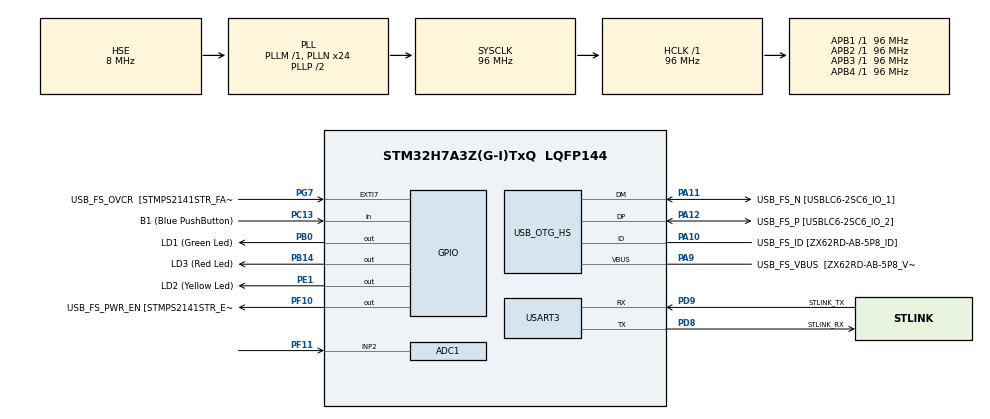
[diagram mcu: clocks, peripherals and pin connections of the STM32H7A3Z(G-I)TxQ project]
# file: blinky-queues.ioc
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ADC1.Channel-0\#ChannelRegularConversion=ADC_CHANNEL_2
ADC1.ContinuousConvMode=ENABLE
ADC1.NbrOfConversionFlag=1
ADC1.OffsetNumber-0\#ChannelRegularConversion=ADC_OFFSET_NONE
ADC1.OffsetSignedSaturation-0\#ChannelRegularConversion=DISABLE
ADC1.Rank-0\#ChannelRegularConversion=1
ADC1.SamplingTime-0\#ChannelRegularConversion=ADC_SAMPLETIME_1CYCLE_5
ADC1.master=1
ADC2.Channel-0\#ChannelRegularConversion=ADC_CHANNEL_TEMPSENSOR
ADC2.NbrOfConversionFlag=1
ADC2.OffsetNumber-0\#ChannelRegularConversion=ADC_OFFSET_NONE
ADC2.OffsetSignedSaturation-0\#ChannelRegularConversion=DISABLE
ADC2.Rank-0\#ChannelRegularConversion=1
ADC2.SamplingTime-0\#ChannelRegularConversion=ADC_SAMPLETIME_1CYCLE_5
FREERTOS.Queues01=CommandsToBlink,16,uint16_t,0,Dynamic,NULL,NULL;times_blinked,16,uint16_t,0,Dynamic,NULL,NULL;rawCommands,16,char,0,Dynamic,NULL,NULL
FREERTOS.Tasks01=CommandLine,24,128,StartCommandLine,Default,NULL,Dynamic,NULL,NULL;Blinker1,8,128,StartBlinker1,Default,NULL,Dynamic,NULL,NULL;Blinker2,8,128,StartBlinker2,Default,NULL,Dynamic,NULL,NULL;Blinker3,8,128,StartBlinker3,Default,NULL,Dynamic,NULL,NULL
FREERTOS.configUSE_NEWLIB_REENTRANT=1
Mcu.Family=STM32H7
Mcu.Name=STM32H7A3Z(G-I)TxQ
Mcu.Package=LQFP144
NVIC.ADC_IRQn=true\:5\:0\:false\:false\:true\:true\:true\:true
NVIC.PriorityGroup=NVIC_PRIORITYGROUP_4
NVIC.TIM7_IRQn=true\:15\:0\:false\:false\:true\:false\:false\:true
NVIC.TimeBase=TIM7_IRQn
NVIC.TimeBaseIP=TIM7
NVIC.USART3_IRQn=true\:5\:0\:false\:false\:true\:true\:true\:true
PA10.GPIO_Label=USB_FS_ID [ZX62RD-AB-5P8_ID]
PA10.Mode=OTG/Dual-Role-Device-FS
PA10.Signal=USB_OTG_HS_ID
PA11.GPIO_Label=USB_FS_N [USBLC6-2SC6_IO_1]
PA11.Mode=OTG/Dual-Role-Device-FS
PA11.Signal=USB_OTG_HS_DM
PA12.GPIO_Label=USB_FS_P [USBLC6-2SC6_IO_2]
PA12.Mode=OTG/Dual-Role-Device-FS
PA12.Signal=USB_OTG_HS_DP
PA9.GPIO_Label=USB_FS_VBUS  [ZX62RD-AB-5P8_VBUS]
PA9.Mode=Activate_VBUS_FS
PA9.Signal=USB_OTG_HS_VBUS
PB0.GPIO_Label=LD1 (Green Led)
PB0.Signal=GPIO_Output
PB14.GPIO_Label=LD3 (Red Led)
PB14.Signal=GPIO_Output
PC13.GPIO_Label=B1 (Blue PushButton)
PC13.Signal=GPIO_Input
PC14-OSC32_IN.GPIO_Label=OSC32_IN
PC14-OSC32_IN.Mode=LSE-External-Oscillator
PC14-OSC32_IN.Signal=RCC_OSC32_IN
PC15-OSC32_OUT.GPIO_Label=OSC32_OUT
PC15-OSC32_OUT.Mode=LSE-External-Oscillator
PC15-OSC32_OUT.Signal=RCC_OSC32_OUT
PD8.GPIO_Label=STLINK_RX
PD8.Mode=Asynchronous
PD8.Signal=USART3_TX
PD9.GPIO_Label=STLINK_TX
PD9.Mode=Asynchronous
PD9.Signal=USART3_RX
PE1.GPIO_Label=LD2 (Yellow Led)
PE1.Signal=GPIO_Output
PF10.GPIO_Label=USB_FS_PWR_EN [STMPS2141STR_EN]
PF10.Signal=GPIO_Output
PF11.Mode=IN2-Single-Ended
PF11.Signal=ADC1_INP2
PG7.GPIO_Label=USB_FS_OVCR  [STMPS2141STR_FAULT]
PG7.Signal=GPXTI7
PH0-OSC_IN.GPIO_Label=PH0-MCU
PH0-OSC_IN.Mode=HSE-External-Clock-Source
PH0-OSC_IN.Signal=RCC_OSC_IN
PH1-OSC_OUT.GPIO_Label=PH1-MCU
PH1-OSC_OUT.Signal=RCC_OSC_OUT
ProjectManager.HeapSize=0x200
ProjectManager.StackSize=0x400
ProjectManager.TargetToolchain=STM32CubeIDE
RCC.ADCFreq_Value=32000000
RCC.APB1Freq_Value=96000000
RCC.APB2Freq_Value=96000000
RCC.APB3Freq_Value=96000000
RCC.APB4Freq_Value=96000000
RCC.CortexFreq_Value=96000000
RCC.DIVM1=1
RCC.DIVM2=1
RCC.DIVM3=1
RCC.DIVN1=24
RCC.DIVN2=16
RCC.DIVN3=24
RCC.DIVP2=4
RCC.DIVQ1=4
RCC.HCLKFreq_Value=96000000
RCC.HSE_VALUE=8000000
RCC.PLLFRACN=0
RCC.PLLSourceVirtual=RCC_PLLSOURCE_HSE
RCC.PWR_Regulator_Voltage_Scale=PWR_REGULATOR_VOLTAGE_SCALE0
RCC.SYSCLKFreq_VALUE=96000000
RCC.SYSCLKSource=RCC_SYSCLKSOURCE_PLLCLK
RCC.SupplySource=PWR_DIRECT_SMPS_SUPPLY
RCC.USBCLockSelection=RCC_USBCLKSOURCE_HSI48
RCC.USBFreq_Value=48000000
USART3.VirtualMode-Asynchronous=VM_ASYNC
VP_ADC2_TempSens_Input.Mode=IN-TempSens
VP_FREERTOS_VS_CMSIS_V2.Mode=CMSIS_V2
VP_SYS_VS_tim7.Mode=TIM7
board=NUCLEO-H7A3ZI-Q

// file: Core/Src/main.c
/* USER CODE BEGIN Header */
/**
  ******************************************************************************
  * @file           : main.c
  * @brief          : Main program body
  ******************************************************************************
  * @attention
  *
  * <h2><center>&copy; Copyright (c) 2022 STMicroelectronics.
  * All rights reserved.</center></h2>
  *
  * This software component is licensed by ST under BSD 3-Clause license,
  * the "License"; You may not use this file except in compliance with the
  * License. You may obtain a copy of the License at:
  *                        opensource.org/licenses/BSD-3-Clause
  *
  ******************************************************************************
  */
/* USER CODE END Header */
#include "main.h"
#include "cmsis_os.h"
#include "adc.h"
#include "usart.h"
#include "usb_otg.h"
#include "gpio.h"

/* USER CODE BEGIN PV */
uint8_t UART3_rxBuffer[12] = {0};
extern osMessageQueueId_t rawCommandsHandle;

/* USER CODE END PV */

void SystemClock_Config(void);
void PeriphCommonClock_Config(void);
void MX_FREERTOS_Init(void);

int main(void)
{

  /* MCU Configuration--------------------------------------------------------*/

  /* Reset of all peripherals, Initializes the Flash interface and the Systick. */
  HAL_Init();

  /* Configure the system clock */
  SystemClock_Config();

/* Configure the peripherals common clocks */
  PeriphCommonClock_Config();

  /* Initialize all configured peripherals */
  MX_GPIO_Init();
  MX_USART3_UART_Init();
  MX_USB_OTG_HS_USB_Init();
  MX_ADC1_Init();
  MX_ADC2_Init();
  /* USER CODE BEGIN 2 */
  HAL_UART_Receive_IT (&huart3, UART3_rxBuffer, 1);

  /* USER CODE END 2 */

  /* Init scheduler */
  osKernelInitialize();  /* Call init function for freertos objects (in freertos.c) */
  MX_FREERTOS_Init();
  /* Start scheduler */
  osKernelStart();

  /* We should never get here as control is now taken by the scheduler */
  /* Infinite loop */
  while (1)
  {

  }
}

void SystemClock_Config(void)
{
  RCC_OscInitTypeDef RCC_OscInitStruct = {0};
  RCC_ClkInitTypeDef RCC_ClkInitStruct = {0};

  /** Supply configuration update enable
  */
  HAL_PWREx_ConfigSupply(PWR_DIRECT_SMPS_SUPPLY);
  /** Configure the main internal regulator output voltage
  */
  __HAL_PWR_VOLTAGESCALING_CONFIG(PWR_REGULATOR_VOLTAGE_SCALE0);

  while(!__HAL_PWR_GET_FLAG(PWR_FLAG_VOSRDY)) {}
  /** Macro to configure the PLL clock source
  */
  __HAL_RCC_PLL_PLLSOURCE_CONFIG(RCC_PLLSOURCE_HSE);
  /** Initializes the RCC Oscillators according to the specified parameters
  * in the RCC_OscInitTypeDef structure.
  */
  RCC_OscInitStruct.OscillatorType = RCC_OSCILLATORTYPE_HSI48|RCC_OSCILLATORTYPE_HSE;
  RCC_OscInitStruct.HSEState = RCC_HSE_BYPASS;
  RCC_OscInitStruct.HSI48State = RCC_HSI48_ON;
  RCC_OscInitStruct.PLL.PLLState = RCC_PLL_ON;
  RCC_OscInitStruct.PLL.PLLSource = RCC_PLLSOURCE_HSE;
  RCC_OscInitStruct.PLL.PLLM = 1;
  RCC_OscInitStruct.PLL.PLLN = 24;
  RCC_OscInitStruct.PLL.PLLP = 2;
  RCC_OscInitStruct.PLL.PLLQ = 4;
  RCC_OscInitStruct.PLL.PLLR = 2;
  RCC_OscInitStruct.PLL.PLLRGE = RCC_PLL1VCIRANGE_3;
  RCC_OscInitStruct.PLL.PLLVCOSEL = RCC_PLL1VCOWIDE;
  RCC_OscInitStruct.PLL.PLLFRACN = 0;
  if (HAL_RCC_OscConfig(&RCC_OscInitStruct) != HAL_OK)
  {
    Error_Handler();
  }
  /** Initializes the CPU, AHB and APB buses clocks
  */
  RCC_ClkInitStruct.ClockType = RCC_CLOCKTYPE_HCLK|RCC_CLOCKTYPE_SYSCLK
                              |RCC_CLOCKTYPE_PCLK1|RCC_CLOCKTYPE_PCLK2
                              |RCC_CLOCKTYPE_D3PCLK1|RCC_CLOCKTYPE_D1PCLK1;
  RCC_ClkInitStruct.SYSCLKSource = RCC_SYSCLKSOURCE_PLLCLK;
  RCC_ClkInitStruct.SYSCLKDivider = RCC_SYSCLK_DIV1;
  RCC_ClkInitStruct.AHBCLKDivider = RCC_HCLK_DIV1;
  RCC_ClkInitStruct.APB3CLKDivider = RCC_APB3_DIV1;
  RCC_ClkInitStruct.APB1CLKDivider = RCC_APB1_DIV1;
  RCC_ClkInitStruct.APB2CLKDivider = RCC_APB2_DIV1;
  RCC_ClkInitStruct.APB4CLKDivider = RCC_APB4_DIV1;

  if (HAL_RCC_ClockConfig(&RCC_ClkInitStruct, FLASH_LATENCY_2) != HAL_OK)
  {
    Error_Handler();
  }
}

void PeriphCommonClock_Config(void)
{
  RCC_PeriphCLKInitTypeDef PeriphClkInitStruct = {0};

  /** Initializes the peripherals clock
  */
  PeriphClkInitStruct.PeriphClockSelection = RCC_PERIPHCLK_ADC;
  PeriphClkInitStruct.PLL2.PLL2M = 1;
  PeriphClkInitStruct.PLL2.PLL2N = 16;
  PeriphClkInitStruct.PLL2.PLL2P = 4;
  PeriphClkInitStruct.PLL2.PLL2Q = 2;
  PeriphClkInitStruct.PLL2.PLL2R = 2;
  PeriphClkInitStruct.PLL2.PLL2RGE = RCC_PLL2VCIRANGE_3;
  PeriphClkInitStruct.PLL2.PLL2VCOSEL = RCC_PLL2VCOWIDE;
  PeriphClkInitStruct.PLL2.PLL2FRACN = 0;
  PeriphClkInitStruct.AdcClockSelection = RCC_ADCCLKSOURCE_PLL2;
  if (HAL_RCCEx_PeriphCLKConfig(&PeriphClkInitStruct) != HAL_OK)
  {
    Error_Handler();
  }
}

void HAL_TIM_PeriodElapsedCallback(TIM_HandleTypeDef *htim)
{
  if (htim->Instance == TIM7) {
    HAL_IncTick();
  }
}

void Error_Handler(void)
{
  __disable_irq();
  while (1)
  {
  }
}

/************************ (C) COPYRIGHT STMicroelectronics *****END OF FILE****/

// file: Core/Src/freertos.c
/* USER CODE BEGIN Header */
/**
 ******************************************************************************
 * File Name          : freertos.c
 * Description        : Code for freertos applications
 ******************************************************************************
 * @attention
 *
 * <h2><center>&copy; Copyright (c) 2022 STMicroelectronics.
 * All rights reserved.</center></h2>
 *
 * This software component is licensed by ST under Ultimate Liberty license
 * SLA0044, the "License"; You may not use this file except in compliance with
 * the License. You may obtain a copy of the License at:
 *                             www.st.com/SLA0044
 *
 ******************************************************************************
 */
/* USER CODE END Header */

#include "FreeRTOS.h"
#include "task.h"
#include "main.h"
#include "cmsis_os.h"

/* USER CODE BEGIN Includes */
#include <stdlib.h>
#include <ctype.h>
#include <string.h>
/* USER CODE END Includes */

/* USER CODE BEGIN PTD */
typedef struct command{
	uint8_t led;
	uint8_t brightness;
	uint32_t delay_ms;
}Command;
/* USER CODE END PTD */

/* USER CODE BEGIN PD */
#define RX_BUFFER_LENGTH 100
#define DELAY_TRIGGER_WORD "delay"
/* USER CODE END PD */

/* USER CODE BEGIN Variables */
char rx_buffer[RX_BUFFER_LENGTH];
uint8_t new_message_flag = 0;
uint8_t message_length;
extern UART_HandleTypeDef huart3;
char local_buffer[RX_BUFFER_LENGTH];
extern TIM_HandleTypeDef htim3;

/* USER CODE END Variables */
/* Definitions for CommandLine */
osThreadId_t CommandLineHandle;
const osThreadAttr_t CommandLine_attributes = {
  .name = "CommandLine",
  .stack_size = 128 * 4,
  .priority = (osPriority_t) osPriorityNormal,
};
/* Definitions for Blinker1 */
osThreadId_t Blinker1Handle;
const osThreadAttr_t Blinker1_attributes = {
  .name = "Blinker1",
  .stack_size = 128 * 4,
  .priority = (osPriority_t) osPriorityLow,
};
/* Definitions for Blinker2 */
osThreadId_t Blinker2Handle;
const osThreadAttr_t Blinker2_attributes = {
  .name = "Blinker2",
  .stack_size = 128 * 4,
  .priority = (osPriority_t) osPriorityLow,
};
/* Definitions for Blinker3 */
osThreadId_t Blinker3Handle;
const osThreadAttr_t Blinker3_attributes = {
  .name = "Blinker3",
  .stack_size = 128 * 4,
  .priority = (osPriority_t) osPriorityLow,
};
/* Definitions for CommandsToBlink */
osMessageQueueId_t CommandsToBlinkHandle;
const osMessageQueueAttr_t CommandsToBlink_attributes = {
  .name = "CommandsToBlink"
};
/* Definitions for times_blinked */
osMessageQueueId_t times_blinkedHandle;
const osMessageQueueAttr_t times_blinked_attributes = {
  .name = "times_blinked"
};
/* Definitions for rawCommands */
osMessageQueueId_t rawCommandsHandle;
const osMessageQueueAttr_t rawCommands_attributes = {
  .name = "rawCommands"
};

void StartCommandLine(void *argument);
void StartBlinker1(void *argument);
void StartBlinker2(void *argument);
void StartBlinker3(void *argument);

void MX_FREERTOS_Init(void); /* (MISRA C 2004 rule 8.1) */

void MX_FREERTOS_Init(void) {

  /* Create the queue(s) */
  /* creation of CommandsToBlink */
  CommandsToBlinkHandle = osMessageQueueNew (16, sizeof(Command), &CommandsToBlink_attributes);

  /* creation of times_blinked */
  times_blinkedHandle = osMessageQueueNew (16, sizeof(uint16_t), &times_blinked_attributes);

  /* creation of rawCommands */
  rawCommandsHandle = osMessageQueueNew (16, sizeof(char), &rawCommands_attributes);

  /* Create the thread(s) */
  /* creation of CommandLine */
  CommandLineHandle = osThreadNew(StartCommandLine, NULL, &CommandLine_attributes);

  /* creation of Blinker1 */
  Blinker1Handle = osThreadNew(StartBlinker1, NULL, &Blinker1_attributes);

  /* creation of Blinker2 */
  Blinker2Handle = osThreadNew(StartBlinker2, NULL, &Blinker2_attributes);

  /* creation of Blinker3 */
  Blinker3Handle = osThreadNew(StartBlinker3, NULL, &Blinker3_attributes);

}

void StartCommandLine(void *argument)
{
  /* USER CODE BEGIN StartCommandLine */
	uint8_t local_index = 0;
	char* delay_ptr = NULL;
	uint16_t delay_len = 0;
	uint16_t total_blinks = 0;
	osStatus_t status;
	char new_char;
	Command loc_com;
	/* Infinite loop */
	for(;;)
	{
		status = osMessageQueueGet(rawCommandsHandle, &new_char, NULL, 0);
		if(status == osOK)
		{
			rx_buffer[local_index] = new_char;
			local_index++;
			if(local_index == RX_BUFFER_LENGTH )
			{
				local_index = 0;
			}

			if(new_char == '\n' || new_char == '\r')
			{
				char* buff_ptr = rx_buffer;
				while(*buff_ptr != '\r'){
					switch (*buff_ptr) {
						case 'l':
							buff_ptr++;
							loc_com.led = atoi(buff_ptr);
							break;
						case 'b':
							buff_ptr++;
							loc_com.brightness = atoi(buff_ptr);
							break;
						case 'd':
							buff_ptr++;
							loc_com.delay_ms = atoi(buff_ptr);
							break;
						default:
							break;
					}
					buff_ptr++;
				}
				local_index = 0;
				memset(rx_buffer,0,RX_BUFFER_LENGTH);
			}
		}
		osDelay(100);
	}
	osThreadDetach(CommandLineHandle);
  /* USER CODE END StartCommandLine */
}

void StartBlinker1(void *argument)
{
  /* USER CODE BEGIN StartBlinker1 */
	uint16_t blink_rate = 0;
	uint16_t blinks = 0;
	HAL_TIM_PWM_Start(&htim3, TIM_CHANNEL_3);

	/* Infinite loop */
	for(;;)
	{

		if(blink_rate > 4800)
		{
			blink_rate = 0;
		}
		blink_rate = blink_rate + 10;
		TIM3->CCR3 = blink_rate;

		osMessageQueueGet(CommandsToBlinkHandle,&blink_rate , NULL, 0);
		HAL_GPIO_TogglePin(LD1_GPIO_Port, LD1_Pin);
		blinks++;
		if (blinks%100 == 0) {
			osMessageQueuePut(times_blinkedHandle, &blinks , NULL, 0);
		}
		osDelay(10);
	}
  /* USER CODE END StartBlinker1 */
}

void StartBlinker2(void *argument)
{
	for(;;)
	{
		osDelay(1);
	}
}

void StartBlinker3(void *argument)
{
	for(;;)
	{
		osDelay(1);
	}
}

/************************ (C) COPYRIGHT STMicroelectronics *****END OF FILE****/
